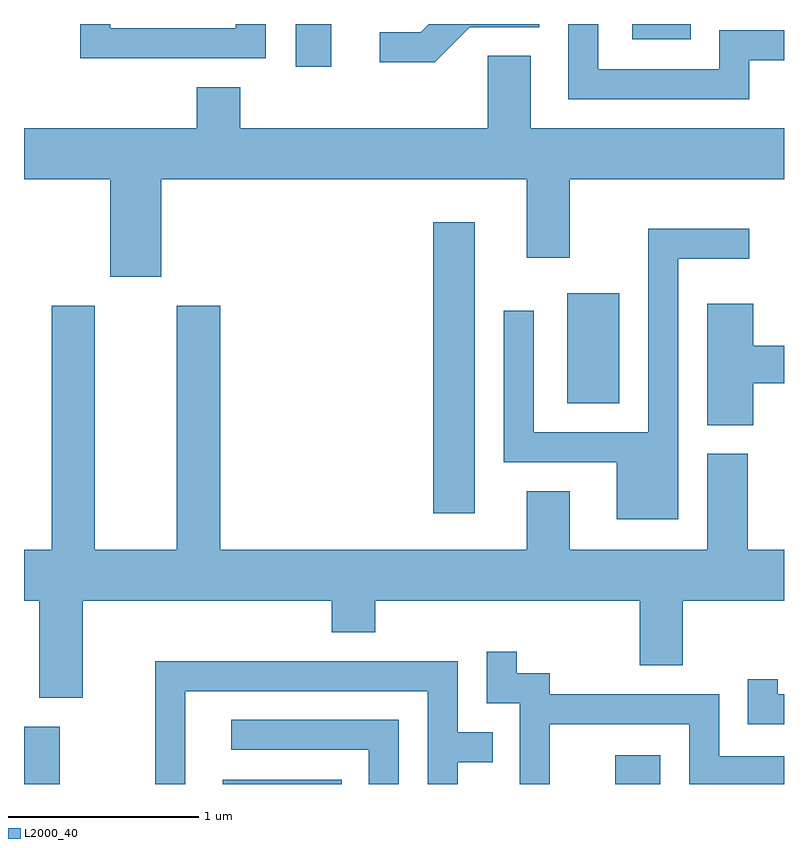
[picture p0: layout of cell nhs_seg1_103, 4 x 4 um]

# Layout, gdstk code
import gdstk
lib = gdstk.Library(unit=1e-6, precision=1e-09)
def R(c, l, rs):  # rectangles x0, y0, x1, y1
    for r in rs: c.add(gdstk.rectangle(r[:2], r[2:], *l))
def P(c, l, *ps):  # polygons
    for p in ps: c.add(gdstk.Polygon(p, *l))
L2000_40 = (2000, 40)

nhs_seg1_103 = lib.new_cell('nhs_seg1_103')
R(nhs_seg1_103, L2000_40, [(187.611,909.712,187.799,910.014), (188.656,909.712,189.283,909.734), (190.723,909.712,190.959,909.864), (189.766,911.136,189.984,912.669), (190.471,911.716,190.744,912.294), (189.041,913.486,189.229,913.712), (190.811,913.631,191.119,913.712)])
P(nhs_seg1_103, L2000_40, [(189.957,913.696),(190.324,913.696),(190.324,913.712),(189.742,913.712),(189.699,913.669),(189.483,913.669),(189.483,913.511),(189.772,913.511)],
  [(191.429,913.521),(191.611,913.521),(191.611,913.679),(191.271,913.679),(191.271,913.474),(190.634,913.474),(190.634,913.712),(190.476,913.712),(190.476,913.316),(191.429,913.316)],
  [(188.884,913.712),(188.726,913.712),(188.726,913.689),(188.064,913.689),(188.064,913.712),(187.906,913.712),(187.906,913.531),(188.884,913.531)],
  [(188.334,912.896),(190.256,912.896),(190.256,912.481),(190.484,912.481),(190.484,912.896),(191.611,912.896),(191.611,913.164),(190.279,913.164),(190.279,913.544),(190.051,913.544),(190.051,913.164),(188.749,913.164),(188.749,913.379),(188.521,913.379),(188.521,913.164),(187.611,913.164),(187.611,912.896),(188.066,912.896),(188.066,912.381),(188.334,912.381)],
  [(191.054,912.476),(191.428,912.476),(191.428,912.634),(190.896,912.634),(190.896,911.564),(190.294,911.564),(190.294,912.203),(190.136,912.203),(190.136,911.406),(190.731,911.406),(190.731,911.106),(191.054,911.106)],
  [(191.449,911.821),(191.611,911.821),(191.611,912.019),(191.449,912.019),(191.449,912.239),(191.206,912.239),(191.206,911.601),(191.449,911.601)],
  [(187.919,910.676),(189.231,910.676),(189.231,910.511),(189.459,910.511),(189.459,910.676),(190.851,910.676),(190.851,910.336),(191.079,910.336),(191.079,910.676),(191.611,910.676),(191.611,910.944),(191.419,910.944),(191.419,911.449),(191.206,911.449),(191.206,910.944),(190.484,910.944),(190.484,911.254),(190.256,911.254),(190.256,910.944),(188.644,910.944),(188.644,912.229),(188.416,912.229),(188.416,910.944),(187.984,910.944),(187.984,912.229),(187.756,912.229),(187.756,910.944),(187.611,910.944),(187.611,910.676),(187.691,910.676),(187.691,910.166),(187.919,910.166)],
  [(190.379,910.026),(191.111,910.026),(191.111,909.712),(191.611,909.712),(191.611,909.859),(191.269,909.859),(191.269,910.184),(190.379,910.184),(190.379,910.294),(190.204,910.294),(190.204,910.408),(190.046,910.408),(190.046,910.136),(190.221,910.136),(190.221,909.712),(190.379,909.712)],
  [(188.459,910.201),(189.736,910.201),(189.736,909.712),(189.894,909.712),(189.894,909.826),(190.078,909.826),(190.078,909.984),(189.894,909.984),(189.894,910.359),(188.301,910.359),(188.301,909.712),(188.459,909.712)],
  [(191.611,910.184),(191.579,910.184),(191.579,910.263),(191.421,910.263),(191.421,910.026),(191.611,910.026)],
  [(189.584,910.049),(188.703,910.049),(188.703,909.891),(189.426,909.891),(189.426,909.712),(189.584,909.712)])

lib.write_gds('nhs_seg1_103.gds')
